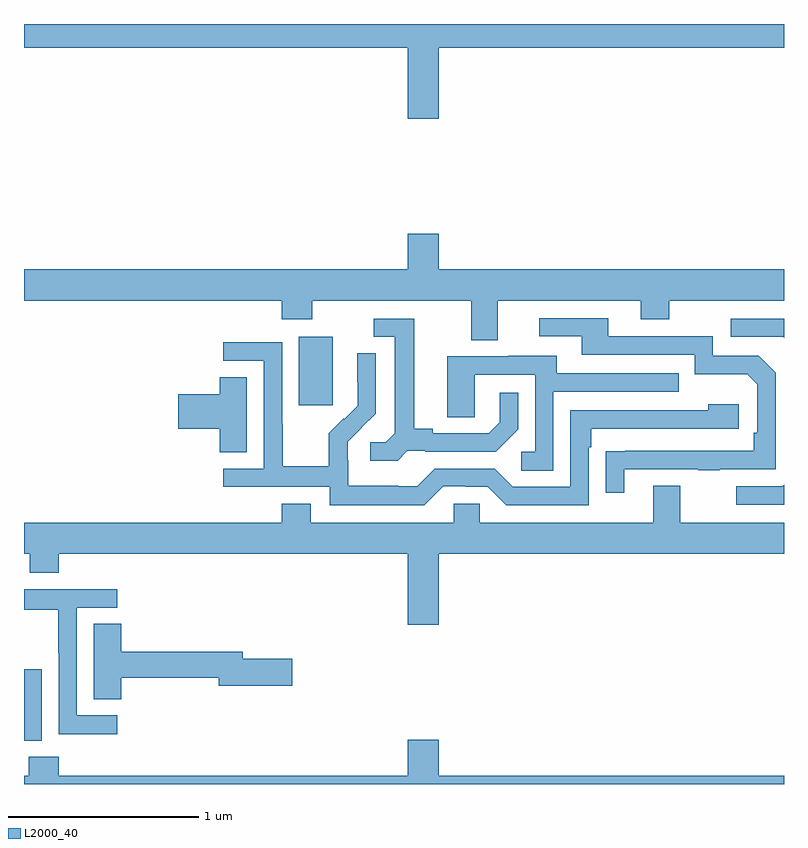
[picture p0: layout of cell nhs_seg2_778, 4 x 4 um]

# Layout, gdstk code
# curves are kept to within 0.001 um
import gdstk
lib = gdstk.Library(unit=1e-6, precision=1e-09)
def R(c, l, rs):  # rectangles x0, y0, x1, y1
    for r in rs: c.add(gdstk.rectangle(r[:2], r[2:], *l))
def P(c, l, *ps):  # polygons
    for p in ps: c.add(gdstk.Polygon(p, *l))
L2000_40 = (2000, 40)

nhs_seg2_778 = lib.new_cell('nhs_seg2_778')
R(nhs_seg2_778, L2000_40, [(151,604.028,151.093,604.405), (152.447,605.793,152.626,606.154)])
P(nhs_seg2_778, L2000_40, [(153.184,607.676),(155,607.676),(155,607.8),(151,607.8),(151,607.676),(153.02,607.676),(153.02,607.302),(153.184,607.302)],
  [(153.493,606.344),(154.247,606.344),(154.247,606.245),(154.395,606.245),(154.395,606.344),(155,606.344),(155,606.508),(153.184,606.508),(153.184,606.697),(153.02,606.697),(153.02,606.508),(151,606.508),(151,606.344),(152.357,606.344),(152.357,606.245),(152.517,606.245),(152.517,606.344),(153.353,606.344),(153.353,606.136),(153.493,606.136)],
  [(154.159,605.457),(154.549,605.457),(154.549,605.452),(154.661,605.452),(154.661,605.457),(154.956,605.457),(154.956,605.964),(154.866,606.054),(154.626,606.054),(154.626,606.156),(154.075,606.156),(154.075,606.252),(153.711,606.252),(153.711,606.156),(153.935,606.156),(153.935,606.06),(154.53,606.06),(154.53,605.957),(154.807,605.957),(154.86,605.904),(154.86,605.65),(154.84,605.65),(154.84,605.553),(154.063,605.552),(154.063,605.334),(154.159,605.334)],
  [(153.018,605.553),(153.112,605.553),(153.112,605.55),(153.484,605.55),(153.6,605.666),(153.6,605.86),(153.503,605.86),(153.503,605.703),(153.446,605.646),(153.151,605.646),(153.151,605.669),(153.055,605.669),(153.055,606.249),(152.841,606.249),(152.841,606.153),(152.951,606.153),(152.951,605.645),(152.904,605.598),(152.823,605.598),(152.823,605.501),(152.966,605.501)],
  [(155,606.249),(154.719,606.249),(154.719,606.153),(154.995,606.153),(155,606.148)],
  [(153.207,605.367),(153.323,605.367),(153.323,605.364),(153.441,605.364),(153.537,605.268),(153.972,605.268),(153.972,605.573),(153.985,605.573),(153.985,605.67),(154.762,605.67),(154.762,605.8),(154.601,605.8),(154.601,605.766),(153.876,605.766),(153.876,605.364),(153.573,605.364),(153.477,605.46),(153.162,605.46),(153.069,605.367),(152.969,605.367),(152.969,605.371),(152.706,605.371),(152.706,605.505),(152.704,605.505),(152.704,605.602),(152.85,605.75),(152.85,606.068),(152.754,606.068),(152.754,605.914),(152.756,605.914),(152.756,605.792),(152.685,605.721),(152.682,605.724),(152.605,605.647),(152.605,605.473),(152.361,605.473),(152.361,605.696),(152.358,605.696),(152.358,606.126),(152.049,606.126),(152.049,606.027),(152.262,606.027),(152.262,605.46),(152.049,605.46),(152.049,605.364),(152.61,605.364),(152.61,605.267),(153.107,605.267)],
  [(153.786,605.865),(154.445,605.865),(154.445,605.961),(153.805,605.961),(153.805,606.055),(153.551,606.055),(153.551,606.051),(153.227,606.051),(153.227,605.731),(153.372,605.731),(153.372,605.955),(153.69,605.955),(153.69,605.55),(153.618,605.55),(153.618,605.449),(153.786,605.449)],
  [(152.173,605.942),(152.03,605.942),(152.03,605.852),(151.812,605.852),(151.812,605.669),(152.03,605.669),(152.03,605.545),(152.173,605.545)],
  [(155,605.375),(154.992,605.367),(154.749,605.367),(154.749,605.271),(155,605.271)],
  [(153.184,605.012),(155,605.012),(155,605.176),(154.453,605.176),(154.453,605.371),(154.313,605.371),(154.313,605.176),(153.399,605.176),(153.399,605.274),(153.261,605.274),(153.261,605.176),(152.509,605.176),(152.509,605.275),(152.357,605.275),(152.357,605.176),(151,605.176),(151,605.012),(151.031,605.012),(151.031,604.913),(151.184,604.913),(151.184,605.012),(153.02,605.012),(153.02,604.638),(153.184,604.638)],
  [(151.492,604.161),(151.278,604.161),(151.278,604.728),(151.492,604.728),(151.492,604.824),(151,604.824),(151,604.716),(151.18,604.716),(151.18,604.492),(151.182,604.492),(151.182,604.063),(151.492,604.063)],
  [(151.511,604.36),(152.024,604.36),(152.024,604.318),(152.413,604.318),(152.413,604.46),(152.152,604.46),(152.152,604.496),(151.511,604.496),(151.511,604.643),(151.367,604.643),(151.367,604.246),(151.511,604.246)],
  [(153.184,604.033),(153.02,604.033),(153.02,603.844),(151.184,603.844),(151.184,603.943),(151.024,603.943),(151.024,603.844),(151,603.844),(151,603.8),(155,603.8),(155,603.844),(153.184,603.844)])

lib.write_gds('nhs_seg2_778.gds')
